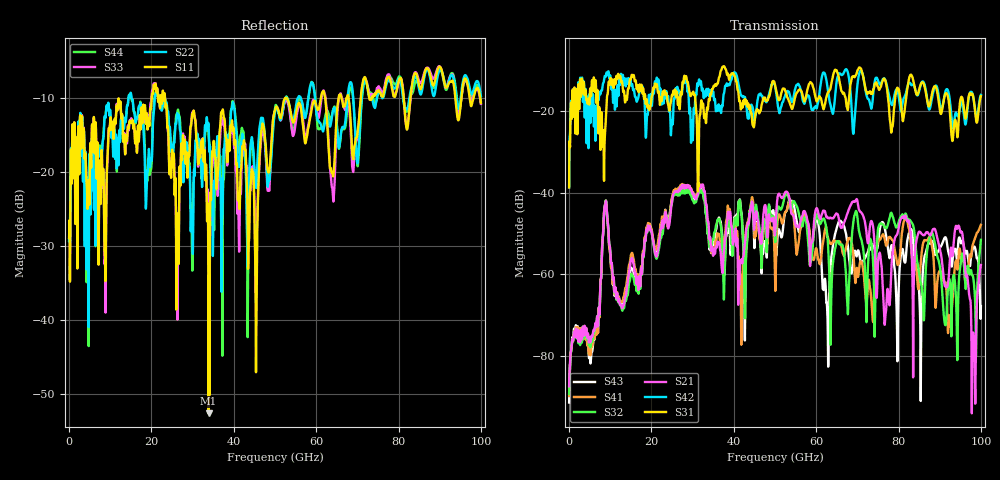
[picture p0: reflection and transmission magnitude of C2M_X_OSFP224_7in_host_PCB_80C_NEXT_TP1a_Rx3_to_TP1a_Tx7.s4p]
# GHz S RI R 45
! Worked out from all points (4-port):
!   4000 points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, 25 MHz to 100 GHz, reference 45 ohm
!   strongest paths, dB at 25 MHz, 25.02 GHz, 50.02 GHz, 75.03 GHz, 100 GHz:
!     S31: -38.7, -16.0, -13.5, -13.9, -16.2
!     S42: -38.6, -22.1, -13.7, -12.5, -15.9
!     S21: -87.5, -42.0, -50.2, -56.9, -57.7
!     S32: -89.4, -42.3, -51.9, -48.9, -51.5
!     S41: -89.9, -40.9, -61.3, -51.9, -47.9
!     S43: -91.5, -41.3, -50.4, -52.4, -67.8
!   lowest |S11| = -52.6 dB at 33.88 GHz (marker M1), VSWR 1.00, Z = 44.9 - j0.161 ohm
!   |S11| at or under -10 dB: start of sweep to 12.02 GHz; 23.31 GHz to 52.41 GHz (29.1 GHz wide, 76.9 % of centre); 52.96 GHz to 61.16 GHz (8.2 GHz wide, 14.4 % of centre) (the widest 3 of 16)
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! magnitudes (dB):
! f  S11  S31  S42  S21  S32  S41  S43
! 25 MHz  -28.9  -38.7  -38.6  -87.5  -89.4  -89.9  -91.5
! 5.7 GHz  -14.6  -13.3  -18.3  -75.1  -76.3  -77.5  -78.6
! 8.875 GHz  -33.8  -23.2  -11.5  -42.3  -42.3  -42.1  -42.1
! 12.93 GHz  -12.3  -12.9  -12.1  -68.3  -68.9  -66.9  -67.5
! 33.88 GHz  -52.6  -17.4  -14.8  -47.6  -50.1  -48.3  -50.5
! 92.38 GHz  -7.8  -19.0  -16.6  -57.9  -61.2  -70.1  -55.6
! 100 GHz  -10.6  -16.2  -15.9  -57.7  -51.5  -47.9  -67.8
